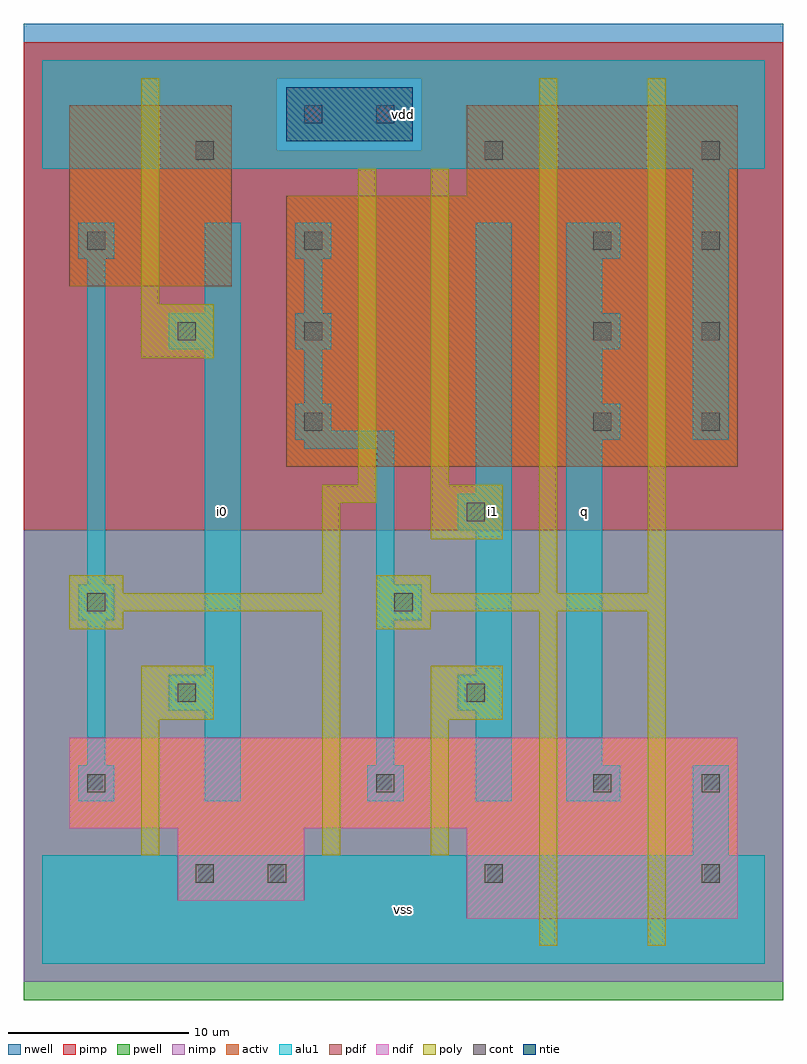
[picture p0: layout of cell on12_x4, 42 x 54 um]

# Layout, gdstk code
import gdstk
lib = gdstk.Library(unit=1e-6, precision=1e-09)
def R(c, l, rs):  # rectangles x0, y0, x1, y1
    for r in rs: c.add(gdstk.rectangle(r[:2], r[2:], *l))
def A(c, l, x, y, w, h, nx, ny, dx, dy):  # array of equal rectangles
    R(c, l, [(x+i*dx, y+j*dy, x+i*dx+w, y+j*dy+h) for i in range(nx) for j in range(ny)])
ndif = (3, 0)
pdif = (4, 0)
ntie = (5, 0)
cont = (25, 0)
pwell = (41, 0)
nwell = (42, 0)
activ = (43, 0)
pimp = (44, 0)
nimp = (45, 0)
poly = (46, 0)
alu1 = (49, 0)

on12_x4 = lib.new_cell('on12_x4')
R(on12_x4, ndif, [(23.5,2.5,38.5,7.5), (7.5,3.5,14.5,7.5), (1.5,7.5,38.5,12.5)])
R(on12_x4, pdif, [(13.5,27.5,38.5,42.5), (1.5,37.5,10.5,47.5), (23.5,42.5,38.5,47.5)])
R(on12_x4, ntie, [(13.5,45.5,20.5,48.5)])
A(on12_x4, cont, 12.5, 4.5, 1, 1, 3, 1, 12, 0)
A(on12_x4, cont, 14.5, 29.5, 1, 1, 1, 3, 0, 5)
A(on12_x4, cont, 30.5, 29.5, 1, 1, 1, 3, 0, 5)
A(on12_x4, cont, 36.5, 29.5, 1, 1, 1, 4, 0, 5)
R(on12_x4, cont, [(8.5,4.5,9.5,5.5), (2.5,9.5,3.5,10.5), (18.5,9.5,19.5,10.5), (30.5,9.5,31.5,10.5), (36.5,9.5,37.5,10.5), (7.5,14.5,8.5,15.5), (23.5,14.5,24.5,15.5), (2.5,19.5,3.5,20.5), (19.5,19.5,20.5,20.5), (23.5,24.5,24.5,25.5), (7.5,34.5,8.5,35.5), (2.5,39.5,3.5,40.5), (8.5,44.5,9.5,45.5), (24.5,44.5,25.5,45.5), (14.5,46.5,15.5,47.5), (18.5,46.5,19.5,47.5)])
R(on12_x4, pwell, [(-1,-2,41,24)])
R(on12_x4, nwell, [(-1,24,41,52)])
R(on12_x4, activ, [(23.5,2.5,38.5,7.5), (7.5,3.5,14.5,7.5), (1.5,7.5,38.5,12.5), (13.5,27.5,38.5,42.5), (1.5,37.5,10.5,47.5), (23.5,42.5,38.5,47.5), (13.5,45.5,20.5,48.5)])
R(on12_x4, pimp, [(-1,24,41,45), (-1,45,13,49), (21,45,41,49), (-1,49,41,51)])
R(on12_x4, nimp, [(-1,-1,41,24), (13,45,21,49)])
R(on12_x4, poly, [(27.5,1,28.5,19.5), (33.5,1,34.5,19.5), (5.5,6,6.5,13.5), (15.5,6,16.5,19.5), (21.5,6,22.5,13.5), (5.5,13.5,9.5,16.5), (21.5,13.5,25.5,16.5), (1.5,18.5,4.5,19.5), (18.5,18.5,21.5,19.5), (1.5,19.5,16.5,20.5), (18.5,19.5,34.5,20.5), (1.5,20.5,4.5,21.5), (15.5,20.5,16.5,25.5), (18.5,20.5,21.5,21.5), (27.5,20.5,28.5,49), (33.5,20.5,34.5,49), (21.5,23.5,25.5,26.5), (15.5,25.5,18.5,26.5), (17.5,26.5,18.5,44), (21.5,26.5,22.5,44), (5.5,33.5,9.5,36.5), (5.5,36.5,6.5,49)])
A(on12_x4, alu1, 29, 29, 3, 2, 1, 3, 0, 5)
R(on12_x4, alu1, [(0,0,40,6), (36,6,38,11), (2,9,4,11), (9,9,11,14), (18,9,20,11), (24,9,26,14), (29,9,32,11), (2.5,11,3.5,19), (18.5,11,19.5,19), (29,11,31,29), (7,14,11,16), (23,14,26,16), (9,16,11,34), (24,16,26,24), (2,19,4,21), (18.5,19,21,21), (2.5,21,3.5,39), (18.5,21,19.5,28.5), (23,24,26,26), (24,26,26,41), (14.5,28.5,19.5,29), (14,29,19.5,29.5), (36,29,38,44), (14,29.5,16,31), (14.5,31,15.5,34), (29,31,31,34), (7,34,11,36), (14,34,16,36), (9,36,11,41), (14.5,36,15.5,39), (29,36,31,39), (2,39,4,41), (14,39,16,41), (0,44,40,50)])
on12_x4.add(gdstk.Label('i0', (10,25), layer=49, texttype=0))
on12_x4.add(gdstk.Label('vss', (20,3), layer=49, texttype=0))
on12_x4.add(gdstk.Label('i1', (25,25), layer=49, texttype=0))
on12_x4.add(gdstk.Label('vdd', (20,47), layer=49, texttype=0))
on12_x4.add(gdstk.Label('q', (30,25), layer=49, texttype=0))

lib.write_gds('on12_x4.gds')
